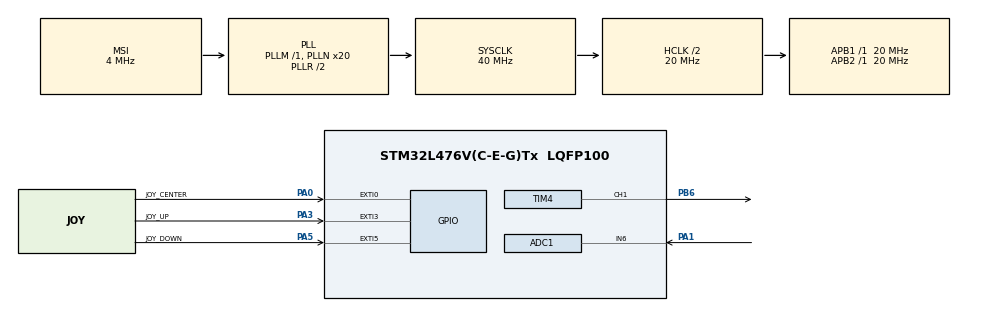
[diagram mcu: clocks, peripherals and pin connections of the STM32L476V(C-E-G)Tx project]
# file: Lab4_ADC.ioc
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Mcu.Family=STM32L4
RCC.MSI_VALUE=4000000
TIM4.Channel-PWM\ Generation1\ CH1=TIM_CHANNEL_1
RCC.CortexFreq_Value=20000000
ADC1.Rank-0\#ChannelRegularConversion=1
TIM3.AutoReloadPreload=TIM_AUTORELOAD_PRELOAD_ENABLE
SH.ADCx_IN6.0=ADC1_IN6,IN6-Single-Ended
ADC1.OffsetNumber-0\#ChannelRegularConversion=ADC_OFFSET_NONE
PA3.GPIO_PuPd=GPIO_PULLDOWN
PA0.GPIO_Label=JOY_CENTER
NVIC.EXTI3_IRQn=true\:0\:0\:false\:false\:true\:true\:true
RCC.SYSCLKSource=RCC_SYSCLKSOURCE_PLLCLK
ProjectManager.StackSize=0x400
ProjectManager.TargetToolchain=MDK-ARM V5.27
RCC.HCLKFreq_Value=20000000
RCC.APB2TimFreq_Value=20000000
TIM4.Pulse-PWM\ Generation1\ CH1=100
PB6.Signal=S_TIM4_CH1
RCC.USBFreq_Value=48000000
TIM4.Prescaler=4
RCC.LSE_VALUE=32768
PA1.Signal=ADCx_IN6
RCC.AHBFreq_Value=20000000
RCC.PREFETCH_ENABLE=1
PA5.Signal=GPXTI5
ADC1.Channel-0\#ChannelRegularConversion=ADC_CHANNEL_6
RCC.HSE_VALUE=8000000
board=STM32L476G-DISCO
RCC.VCOOutputFreq_Value=80000000
NVIC.TIM3_IRQn=true\:0\:0\:false\:false\:true\:true\:true
RCC.APB2Freq_Value=20000000
PA5.GPIO_PuPd=GPIO_PULLDOWN
RCC.ADCFreq_Value=48000000
RCC.AHBCLKDivider=RCC_SYSCLK_DIV2
TIM4.Period=100
Mcu.Name=STM32L476V(C-E-G)Tx
ADC1.SamplingTime-0\#ChannelRegularConversion=ADC_SAMPLETIME_2CYCLES_5
PA0.Signal=GPXTI0
NVIC.EXTI0_IRQn=true\:0\:0\:false\:false\:true\:true\:true
RCC.SYSCLKFreq_VALUE=40000000
Mcu.Package=LQFP100
ADC1.master=1
PA5.GPIO_Label=JOY_DOWN
NVIC.EXTI9_5_IRQn=true\:0\:0\:false\:false\:true\:true\:true
ProjectManager.HeapSize=0x200
RCC.HSI_VALUE=16000000
VP_TIM4_VS_ClockSourceINT.Mode=Internal
NVIC.PriorityGroup=NVIC_PRIORITYGROUP_4
ADC1.NbrOfConversionFlag=1
RCC.PLLN=20
SH.S_TIM4_CH1.0=TIM4_CH1,PWM Generation1 CH1
RCC.APB1TimFreq_Value=20000000
RCC.APB1Freq_Value=20000000
VP_TIM3_VS_ClockSourceINT.Mode=Internal
RCC.PLLSAI1N=24
PA3.GPIO_Label=JOY_UP
PA3.Signal=GPXTI3

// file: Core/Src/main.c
/* USER CODE BEGIN Header */
/**
  ******************************************************************************
  * @file           : main.c
  * @brief          : Main program body
  ******************************************************************************
  * @attention
  *
  * <h2><center>&copy; Copyright (c) 2020 STMicroelectronics.
  * All rights reserved.</center></h2>
  *
  * This software component is licensed by ST under BSD 3-Clause license,
  * the "License"; You may not use this file except in compliance with the
  * License. You may obtain a copy of the License at:
  *                        opensource.org/licenses/BSD-3-Clause
  *
  ******************************************************************************
  */
/* USER CODE END Header */
#include "main.h"

/* USER CODE BEGIN Includes */
#include "stm32l4xx.h"
#include "stm32l476g_discovery.h"
#include "stm32l476g_discovery_glass_lcd.h"
/* USER CODE END Includes */

ADC_HandleTypeDef hadc1;

TIM_HandleTypeDef htim3;
TIM_HandleTypeDef htim4;

/* USER CODE BEGIN PV */
char lcd_buffer1[6]; // For Actual temperature
char lcd_buffer2[6]; // For set temperature
uint16_t raw_temp; // Raw temp data
uint16_t set_temp; // Set temp data
uint16_t real_temp; //Display temp data
int mode, Upressed, Dpressed, Cpressed, temp_control;
/* USER CODE END PV */

void SystemClock_Config(void);
static void MX_GPIO_Init(void);
static void MX_ADC1_Init(void);
static void MX_TIM4_Init(void);
static void MX_TIM3_Init(void);

int main(void)
{
  /* USER CODE BEGIN 1 */
	set_temp = 2400; //Initialization of set temp
	mode = 1; //Display actual temperature mode
	Upressed = 0; // Initialization of GPIO variable
	Dpressed = 0;
	Cpressed = 0;
  /* USER CODE END 1 */

  /* MCU Configuration--------------------------------------------------------*/

  /* Reset of all peripherals, Initializes the Flash interface and the Systick. */
  HAL_Init();

  /* USER CODE BEGIN Init */
	BSP_LCD_GLASS_Init();
  /* USER CODE END Init */

  /* Configure the system clock */
  SystemClock_Config();

  /* Initialize all configured peripherals */
  MX_GPIO_Init();
  MX_ADC1_Init();
  MX_TIM4_Init();
  MX_TIM3_Init();
  /* USER CODE BEGIN 2 */
	HAL_TIM_PWM_Start(&htim4, TIM_CHANNEL_1); // Start PWM
	HAL_TIM_Base_Start_IT(&htim3);
  /* USER CODE END 2 */

  /* Infinite loop */
  while (1)
  {

    /* USER CODE BEGIN 3 */
		if(mode == 1 && Cpressed == 1){ //When in actual temp display mode and selection is pressed
			mode = 2;
			Cpressed = 0;
		}

		if(mode == 2 && Cpressed == 1){ //When in setting mode and selection is pressed
			mode = 1;
			Cpressed = 0;
		}

		if(mode == 1){
			HAL_ADC_Start(&hadc1); //Start ADC
			HAL_ADC_PollForConversion(&hadc1, HAL_MAX_DELAY); //ADC Conversion
			raw_temp = HAL_ADC_GetValue(&hadc1); //Give value to raw temp
			real_temp = raw_temp * 2.44141; //Convert raw temperature to real temerature
			sprintf(lcd_buffer1, "%d C", real_temp);
			BSP_LCD_GLASS_DisplayString((uint8_t*)lcd_buffer1 );
			BSP_LCD_GLASS_DisplayChar((uint8_t*)&lcd_buffer1[1], POINT_ON, DOUBLEPOINT_OFF, LCD_DIGIT_POSITION_2);
			HAL_Delay(300);
		}

		if(mode == 2){
			sprintf(lcd_buffer2,"%d", set_temp);
			BSP_LCD_GLASS_DisplayString((uint8_t*)lcd_buffer2);
			BSP_LCD_GLASS_DisplayChar((uint8_t*)&lcd_buffer2[1], POINT_ON, DOUBLEPOINT_OFF, LCD_DIGIT_POSITION_2);
		}
		if(Upressed == 1){ //When joy stick up is pressed
			set_temp += 50; //Temperature + 0.5 degree
			Upressed = 0;
		}
		if(Dpressed == 1){
			set_temp -= 50; // Temerature - 0.5 degree
			Dpressed = 0;
		}
		temp_control = real_temp - set_temp; //Difference of actual temerature and set temerature
		temp_control = temp_control / 10; //Convert the difference to an acceptable range
		temp_control += 14; //Since fan starts at value 15
		htim4.Instance -> CCR1 = temp_control;
	}
  /* USER CODE END 3 */
}

void SystemClock_Config(void)
{
  RCC_OscInitTypeDef RCC_OscInitStruct = {0};
  RCC_ClkInitTypeDef RCC_ClkInitStruct = {0};
  RCC_PeriphCLKInitTypeDef PeriphClkInit = {0};

  /** Initializes the RCC Oscillators according to the specified parameters
  * in the RCC_OscInitTypeDef structure.
  */
  RCC_OscInitStruct.OscillatorType = RCC_OSCILLATORTYPE_MSI;
  RCC_OscInitStruct.MSIState = RCC_MSI_ON;
  RCC_OscInitStruct.MSICalibrationValue = 0;
  RCC_OscInitStruct.MSIClockRange = RCC_MSIRANGE_6;
  RCC_OscInitStruct.PLL.PLLState = RCC_PLL_ON;
  RCC_OscInitStruct.PLL.PLLSource = RCC_PLLSOURCE_MSI;
  RCC_OscInitStruct.PLL.PLLM = 1;
  RCC_OscInitStruct.PLL.PLLN = 20;
  RCC_OscInitStruct.PLL.PLLP = RCC_PLLP_DIV7;
  RCC_OscInitStruct.PLL.PLLQ = RCC_PLLQ_DIV2;
  RCC_OscInitStruct.PLL.PLLR = RCC_PLLR_DIV2;
  if (HAL_RCC_OscConfig(&RCC_OscInitStruct) != HAL_OK)
  {
    Error_Handler();
  }
  /** Initializes the CPU, AHB and APB buses clocks
  */
  RCC_ClkInitStruct.ClockType = RCC_CLOCKTYPE_HCLK|RCC_CLOCKTYPE_SYSCLK
                              |RCC_CLOCKTYPE_PCLK1|RCC_CLOCKTYPE_PCLK2;
  RCC_ClkInitStruct.SYSCLKSource = RCC_SYSCLKSOURCE_PLLCLK;
  RCC_ClkInitStruct.AHBCLKDivider = RCC_SYSCLK_DIV2;
  RCC_ClkInitStruct.APB1CLKDivider = RCC_HCLK_DIV1;
  RCC_ClkInitStruct.APB2CLKDivider = RCC_HCLK_DIV1;

  if (HAL_RCC_ClockConfig(&RCC_ClkInitStruct, FLASH_LATENCY_1) != HAL_OK)
  {
    Error_Handler();
  }
  PeriphClkInit.PeriphClockSelection = RCC_PERIPHCLK_ADC;
  PeriphClkInit.AdcClockSelection = RCC_ADCCLKSOURCE_PLLSAI1;
  PeriphClkInit.PLLSAI1.PLLSAI1Source = RCC_PLLSOURCE_MSI;
  PeriphClkInit.PLLSAI1.PLLSAI1M = 1;
  PeriphClkInit.PLLSAI1.PLLSAI1N = 24;
  PeriphClkInit.PLLSAI1.PLLSAI1P = RCC_PLLP_DIV7;
  PeriphClkInit.PLLSAI1.PLLSAI1Q = RCC_PLLQ_DIV2;
  PeriphClkInit.PLLSAI1.PLLSAI1R = RCC_PLLR_DIV2;
  PeriphClkInit.PLLSAI1.PLLSAI1ClockOut = RCC_PLLSAI1_ADC1CLK;
  if (HAL_RCCEx_PeriphCLKConfig(&PeriphClkInit) != HAL_OK)
  {
    Error_Handler();
  }
  /** Configure the main internal regulator output voltage
  */
  if (HAL_PWREx_ControlVoltageScaling(PWR_REGULATOR_VOLTAGE_SCALE1) != HAL_OK)
  {
    Error_Handler();
  }
}

static void MX_ADC1_Init(void)
{

  ADC_MultiModeTypeDef multimode = {0};
  ADC_ChannelConfTypeDef sConfig = {0};

  /** Common config
  */
  hadc1.Instance = ADC1;
  hadc1.Init.ClockPrescaler = ADC_CLOCK_ASYNC_DIV1;
  hadc1.Init.Resolution = ADC_RESOLUTION_12B;
  hadc1.Init.DataAlign = ADC_DATAALIGN_RIGHT;
  hadc1.Init.ScanConvMode = ADC_SCAN_DISABLE;
  hadc1.Init.EOCSelection = ADC_EOC_SINGLE_CONV;
  hadc1.Init.LowPowerAutoWait = DISABLE;
  hadc1.Init.ContinuousConvMode = DISABLE;
  hadc1.Init.NbrOfConversion = 1;
  hadc1.Init.DiscontinuousConvMode = DISABLE;
  hadc1.Init.ExternalTrigConv = ADC_SOFTWARE_START;
  hadc1.Init.ExternalTrigConvEdge = ADC_EXTERNALTRIGCONVEDGE_NONE;
  hadc1.Init.DMAContinuousRequests = DISABLE;
  hadc1.Init.Overrun = ADC_OVR_DATA_PRESERVED;
  hadc1.Init.OversamplingMode = DISABLE;
  if (HAL_ADC_Init(&hadc1) != HAL_OK)
  {
    Error_Handler();
  }
  /** Configure the ADC multi-mode
  */
  multimode.Mode = ADC_MODE_INDEPENDENT;
  if (HAL_ADCEx_MultiModeConfigChannel(&hadc1, &multimode) != HAL_OK)
  {
    Error_Handler();
  }
  /** Configure Regular Channel
  */
  sConfig.Channel = ADC_CHANNEL_6;
  sConfig.Rank = ADC_REGULAR_RANK_1;
  sConfig.SamplingTime = ADC_SAMPLETIME_2CYCLES_5;
  sConfig.SingleDiff = ADC_SINGLE_ENDED;
  sConfig.OffsetNumber = ADC_OFFSET_NONE;
  sConfig.Offset = 0;
  if (HAL_ADC_ConfigChannel(&hadc1, &sConfig) != HAL_OK)
  {
    Error_Handler();
  }

}

static void MX_TIM3_Init(void)
{

  TIM_ClockConfigTypeDef sClockSourceConfig = {0};
  TIM_MasterConfigTypeDef sMasterConfig = {0};

  htim3.Instance = TIM3;
  htim3.Init.Prescaler = 1999;
  htim3.Init.CounterMode = TIM_COUNTERMODE_UP;
  htim3.Init.Period = 4999;
  htim3.Init.ClockDivision = TIM_CLOCKDIVISION_DIV1;
  htim3.Init.AutoReloadPreload = TIM_AUTORELOAD_PRELOAD_ENABLE;
  if (HAL_TIM_Base_Init(&htim3) != HAL_OK)
  {
    Error_Handler();
  }
  sClockSourceConfig.ClockSource = TIM_CLOCKSOURCE_INTERNAL;
  if (HAL_TIM_ConfigClockSource(&htim3, &sClockSourceConfig) != HAL_OK)
  {
    Error_Handler();
  }
  sMasterConfig.MasterOutputTrigger = TIM_TRGO_RESET;
  sMasterConfig.MasterSlaveMode = TIM_MASTERSLAVEMODE_DISABLE;
  if (HAL_TIMEx_MasterConfigSynchronization(&htim3, &sMasterConfig) != HAL_OK)
  {
    Error_Handler();
  }

}

static void MX_TIM4_Init(void)
{

  TIM_ClockConfigTypeDef sClockSourceConfig = {0};
  TIM_MasterConfigTypeDef sMasterConfig = {0};
  TIM_OC_InitTypeDef sConfigOC = {0};

  htim4.Instance = TIM4;
  htim4.Init.Prescaler = 4;
  htim4.Init.CounterMode = TIM_COUNTERMODE_UP;
  htim4.Init.Period = 100;
  htim4.Init.ClockDivision = TIM_CLOCKDIVISION_DIV1;
  htim4.Init.AutoReloadPreload = TIM_AUTORELOAD_PRELOAD_DISABLE;
  if (HAL_TIM_Base_Init(&htim4) != HAL_OK)
  {
    Error_Handler();
  }
  sClockSourceConfig.ClockSource = TIM_CLOCKSOURCE_INTERNAL;
  if (HAL_TIM_ConfigClockSource(&htim4, &sClockSourceConfig) != HAL_OK)
  {
    Error_Handler();
  }
  if (HAL_TIM_PWM_Init(&htim4) != HAL_OK)
  {
    Error_Handler();
  }
  sMasterConfig.MasterOutputTrigger = TIM_TRGO_RESET;
  sMasterConfig.MasterSlaveMode = TIM_MASTERSLAVEMODE_DISABLE;
  if (HAL_TIMEx_MasterConfigSynchronization(&htim4, &sMasterConfig) != HAL_OK)
  {
    Error_Handler();
  }
  sConfigOC.OCMode = TIM_OCMODE_PWM1;
  sConfigOC.Pulse = 100;
  sConfigOC.OCPolarity = TIM_OCPOLARITY_HIGH;
  sConfigOC.OCFastMode = TIM_OCFAST_DISABLE;
  if (HAL_TIM_PWM_ConfigChannel(&htim4, &sConfigOC, TIM_CHANNEL_1) != HAL_OK)
  {
    Error_Handler();
  }
  HAL_TIM_MspPostInit(&htim4);

}

static void MX_GPIO_Init(void)
{
  GPIO_InitTypeDef GPIO_InitStruct = {0};

  /* GPIO Ports Clock Enable */
  __HAL_RCC_GPIOA_CLK_ENABLE();
  __HAL_RCC_GPIOB_CLK_ENABLE();

  /*Configure GPIO pin : JOY_CENTER_Pin */
  GPIO_InitStruct.Pin = JOY_CENTER_Pin;
  GPIO_InitStruct.Mode = GPIO_MODE_IT_RISING;
  GPIO_InitStruct.Pull = GPIO_NOPULL;
  HAL_GPIO_Init(JOY_CENTER_GPIO_Port, &GPIO_InitStruct);

  /*Configure GPIO pins : JOY_UP_Pin JOY_DOWN_Pin */
  GPIO_InitStruct.Pin = JOY_UP_Pin|JOY_DOWN_Pin;
  GPIO_InitStruct.Mode = GPIO_MODE_IT_RISING;
  GPIO_InitStruct.Pull = GPIO_PULLDOWN;
  HAL_GPIO_Init(GPIOA, &GPIO_InitStruct);

  /* EXTI interrupt init*/
  HAL_NVIC_SetPriority(EXTI0_IRQn, 0, 0);
  HAL_NVIC_EnableIRQ(EXTI0_IRQn);

  HAL_NVIC_SetPriority(EXTI3_IRQn, 0, 0);
  HAL_NVIC_EnableIRQ(EXTI3_IRQn);

  HAL_NVIC_SetPriority(EXTI9_5_IRQn, 0, 0);
  HAL_NVIC_EnableIRQ(EXTI9_5_IRQn);

}

/* USER CODE BEGIN 4 */
/*void HAL_TIM_PeriodElapsedCallback(TIM_HandleTypeDef *htim)
{
}*/
void HAL_GPIO_EXTI_Callback(uint16_t GPIO_Pin)
{
	switch (GPIO_Pin)
	{
		case GPIO_PIN_0:
			Cpressed = 1;
			break;

		case GPIO_PIN_3:
			Upressed = 1;
			break;

		case GPIO_PIN_5:
			Dpressed = 1;
			break;

	}
}
/* USER CODE END 4 */

void Error_Handler(void)
{
}

/************************ (C) COPYRIGHT STMicroelectronics *****END OF FILE****/
